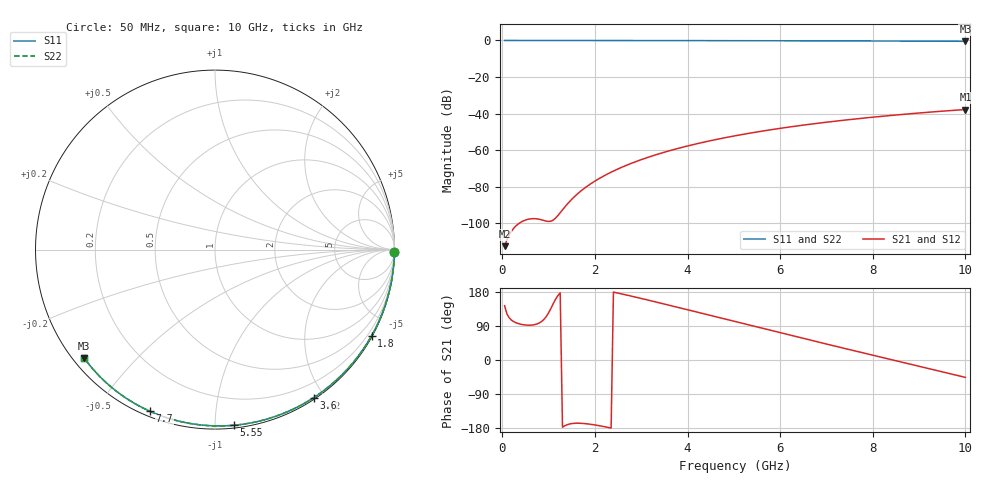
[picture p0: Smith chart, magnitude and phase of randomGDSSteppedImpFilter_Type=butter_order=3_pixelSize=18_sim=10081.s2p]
! freq	dB(S11)	phase(S11)	dB(S12)	phase(S12)
!  dB(S21)	phase(S21)	dB(S22)	phase(S22)
!S-par simulation data
#  GHz  S  DB  R 50
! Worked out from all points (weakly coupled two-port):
!   200 points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, 50 MHz to 10 GHz, reference 50 ohm
!   highest |S21| = -37.76 dB at 10 GHz (marker M1); lowest = -112.5 dB at 50 MHz (marker M2)
!   lowest |S11| = -0.5 dB at 10 GHz (marker M3), VSWR 36.62, Z = 1.54 - j18.1 ohm
!   |S11| at or under -10 dB: nowhere
!   |S22| runs from -0.5 to 0.0 dB; largest |S21 - S12| = 0
!   S11 on the Smith chart (normalised r, x): 50 MHz: open; 1.8 GHz: 0.03, -3.89; 3.6 GHz: 0.02, -1.87; 5.55 GHz: 0.02, -1.11; 7.7 GHz: 0.02, -0.68; 10 GHz: 0.03, -0.36
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0.05  -0.00 -0.8  -112.48 143.2  -112.48 143.2  -0.00 -0.8
0.45  -0.01 -7.3  -98.71 93.2  -98.71 93.2  -0.01 -7.3
0.9  -0.02 -14.6  -98.44 107.2  -98.44 107.2  -0.02 -14.6
1.75  -0.04 -28.1  -81.26 -167.5  -81.26 -167.5  -0.04 -28.1
1.8  -0.04 -28.8  -80.31 -168.0  -80.31 -168.0  -0.04 -28.8
1.85  -0.04 -29.6  -79.40 -168.7  -79.40 -168.7  -0.04 -29.6
2  -0.04 -32.0  -76.90 -171.4  -76.90 -171.4  -0.04 -32.0
2.15  -0.04 -34.3  -74.66 -174.6  -74.66 -174.6  -0.04 -34.3
2.35  -0.05 -37.4  -72.02 -179.5  -72.02 -179.5  -0.05 -37.4
2.55  -0.05 -40.5  -69.66 175.2  -69.66 175.2  -0.05 -40.5
2.95  -0.06 -46.6  -65.63 163.9  -65.63 163.9  -0.06 -46.6
3.4  -0.07 -53.3  -61.85 150.6  -61.85 150.6  -0.07 -53.3
3.6  -0.08 -56.3  -60.37 144.6  -60.37 144.6  -0.08 -56.3
4.3  -0.09 -66.5  -55.90 123.5  -55.90 123.5  -0.09 -66.5
5.05  -0.12 -77.1  -52.02 100.7  -52.02 100.7  -0.12 -77.0
5.55  -0.14 -83.9  -49.82 85.5  -49.82 85.5  -0.14 -83.9
6.1  -0.16 -91.3  -47.68 69.0  -47.68 69.0  -0.16 -91.3
6.7  -0.19 -99.2  -45.63 51.0  -45.63 51.0  -0.19 -99.2
7.7  -0.26 -111.9  -42.73 21.4  -42.73 21.4  -0.26 -111.9
8.35  -0.31 -120.0  -41.11 2.4  -41.11 2.4  -0.31 -120.0
9.2  -0.39 -130.5  -39.25 -22.4  -39.25 -22.4  -0.39 -130.5
10  -0.47 -140.3  -37.76 -45.9  -37.76 -45.9  -0.47 -140.2
